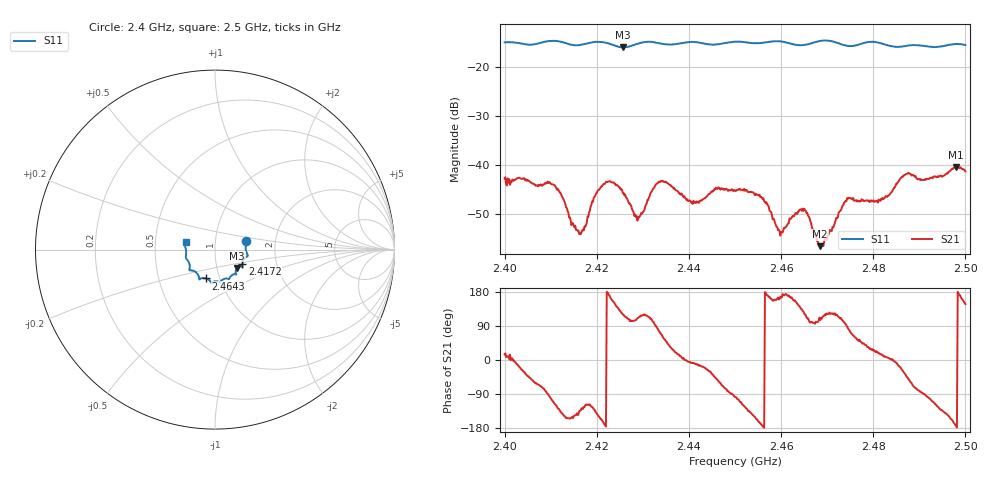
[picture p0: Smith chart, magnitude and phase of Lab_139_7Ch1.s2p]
# Hz S RI R 50
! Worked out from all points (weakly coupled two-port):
!   601 points, 2.4 GHz to 2.5 GHz, reference 50 ohm
!   highest |S21| = -40.47 dB at 2.498 GHz (marker M1); lowest = -56.7 dB at 2.4685 GHz (marker M2)
!   lowest |S11| = -15.9 dB at 2.4257 GHz (marker M3), VSWR 1.38, Z = 62.5 - j13.1 ohm
!   |S11| at or under -10 dB: start of sweep to end of sweep
!   S12 and S22 are empty: the file has one direction only
!   S11 on the Smith chart (normalised r, x): 2.4 GHz: 1.41, +0.14; 2.4172 GHz: 1.34, -0.22; 2.4643 GHz: 0.86, -0.28; 2.5 GHz: 0.72, +0.06
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2.4e9  0.1733 0.0493  0.007 0.00186  0 0  0 0
2.410333e9  0.1835 -0.0336  -0.00177 -0.00608  0 0  0 0
2.416667e9  0.1528 -0.0746  -0.00123 -0.0016  0 0  0 0
2.417167e9  0.1521 -0.0803  -0.00119 -0.00176  0 0  0 0
2.419333e9  0.1535 -0.0958  -0.0029 -0.00354  0 0  0 0
2.4215e9  0.1531 -0.0955  -0.0062 -0.00154  0 0  0 0
2.425667e9  0.1227 -0.1024  -0.00258 0.00444  0 0  0 0
2.429e9  0.1157 -0.1313  -0.00106 0.00271  0 0  0 0
2.433333e9  0.1128 -0.137  0.00112 0.00648  0 0  0 0
2.441e9  0.0777 -0.1644  0.00423 -0.000581  0 0  0 0
2.45e9  0.0294 -0.181  -0.000743 -0.0054  0 0  0 0
2.455667e9  -0.00408 -0.1775  -0.0046 -0.00088  0 0  0 0
2.459833e9  -0.0233 -0.1828  -0.00183 0.000427  0 0  0 0
2.464333e9  -0.0499 -0.1607  -0.00247 0.00248  0 0  0 0
2.466667e9  -0.0759 -0.1596  -0.000431 0.00227  0 0  0 0
2.4685e9  -0.0864 -0.1652  -0.000386 0.00141  0 0  0 0
2.474333e9  -0.1002 -0.1325  0.000172 0.00454  0 0  0 0
2.483333e9  -0.1407 -0.0899  0.0048 0.000426  0 0  0 0
2.487167e9  -0.1564 -0.0553  0.00596 -0.00543  0 0  0 0
2.491e9  -0.162 -0.0343  0.000122 -0.00698  0 0  0 0
2.498e9  -0.1705 0.0313  -0.00944 -0.000885  0 0  0 0
2.5e9  -0.1638 0.0419  -0.00725 0.00461  0 0  0 0
